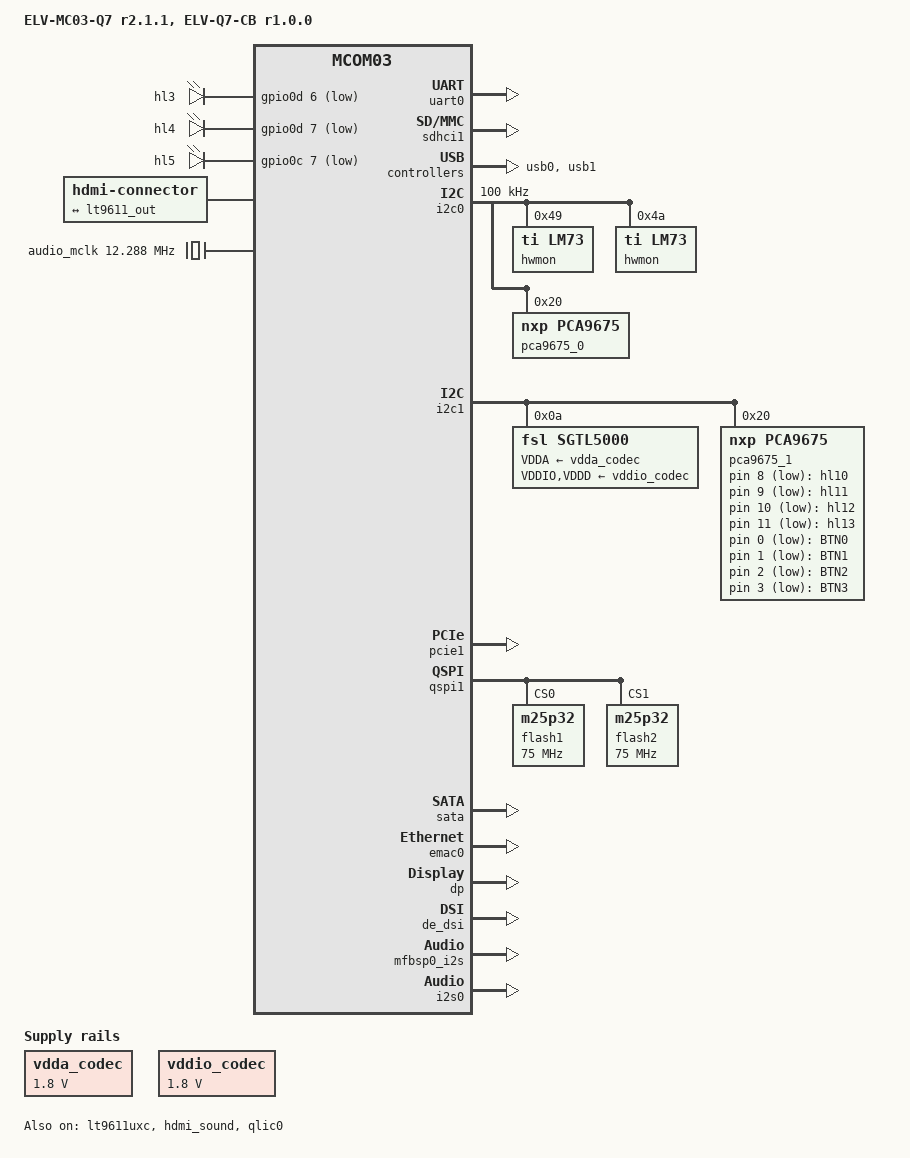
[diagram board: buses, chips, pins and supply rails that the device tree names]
// SPDX-License-Identifier: GPL-2.0+
/*
 * Copyright 2023 RnD Center "ELVEES", JSC
 */

/dts-v1/;

#include <dt-bindings/input/linux-event-codes.h>

#include "mcom03-elvmc03q7-r2.1.1.dtsi"

/ {
	model = "ELV-MC03-Q7 r2.1.1, ELV-Q7-CB r1.0.0";
	compatible = "elvees,elvmc03q7-r2.1.1-elvq7cb-r1.0.0",
		     "elvees,elvmc03q7-elvq7cb",
		     "elvees,elvq7cb-r1.0.0",
		     "elvees,elvq7cb",
		     "elvees,elvmc03q7-r2.1.1",
		     "elvees,elvmc03q7",
		     "elvees,mcom03";

	chosen {
		stdout-path = "serial0:115200n8";
	};

	elvq7cb-leds {
		compatible = "gpio-leds";

		hl3 {
			gpios = <&gpio0d 6 GPIO_ACTIVE_LOW>;
			default-state = "off";
		};

		hl4 {
			gpios = <&gpio0d 7 GPIO_ACTIVE_LOW>;
			default-state = "off";
		};

		hl5 {
			gpios = <&gpio0c 7 GPIO_ACTIVE_LOW>;
			default-state = "off";
		};

		hl10 {
			gpios = <&pca9675_1 8 GPIO_ACTIVE_LOW>;
			default-state = "off";
		};

		hl11 {
			gpios = <&pca9675_1 9 GPIO_ACTIVE_LOW>;
			default-state = "off";
		};

		hl12 {
			gpios = <&pca9675_1 10 GPIO_ACTIVE_LOW>;
			default-state = "off";
		};

		hl13 {
			gpios = <&pca9675_1 11 GPIO_ACTIVE_LOW>;
			default-state = "off";
		};

		hl14 {
			/* Reserved for I2C3 SCL */
			status = "disabled";
			gpios = <&gpio1a 4 GPIO_ACTIVE_LOW>;
			default-state = "off";
		};

		hl15 {
			/* Reserved for I2C3 SDA */
			status = "disabled";
			gpios = <&gpio1a 5 GPIO_ACTIVE_LOW>;
			default-state = "off";
		};

		hl16 {
			/* Reserved for UART0 TX */
			status = "disabled";
			gpios = <&gpio1b 6 GPIO_ACTIVE_LOW>;
			default-state = "off";
		};

		hl17 {
			/* Reserved for UART0 RX */
			status = "disabled";
			gpios = <&gpio1b 7 GPIO_ACTIVE_LOW>;
			default-state = "off";
		};
	};

	elvq7cb-keys {
		compatible = "gpio-keys-polled";
		poll-interval = <100>;
		autorepeat;

		btn0 {
			gpios = <&pca9675_1 0 GPIO_ACTIVE_LOW>;
			label = "BTN0";
			linux,code = <BTN_TRIGGER_HAPPY1>;
		};

		btn1 {
			gpios = <&pca9675_1 1 GPIO_ACTIVE_LOW>;
			label = "BTN1";
			linux,code = <BTN_TRIGGER_HAPPY2>;
		};

		btn2 {
			gpios = <&pca9675_1 2 GPIO_ACTIVE_LOW>;
			label = "BTN2";
			linux,code = <BTN_TRIGGER_HAPPY3>;
		};

		btn3 {
			gpios = <&pca9675_1 3 GPIO_ACTIVE_LOW>;
			label = "BTN3";
			linux,code = <BTN_TRIGGER_HAPPY4>;
		};
	};

	hdmi_connector: hdmi-connector {
		compatible = "hdmi-connector";
		label = "hdmi";

		type = "a";

		port {
			hdmi_connector_in: endpoint {
				remote-endpoint = <&lt9611_out>;
			};
		};
	};

	vdda_codec: vdda-codec {
		compatible = "regulator-fixed";
		regulator-name = "vdda-codec";
		regulator-min-microvolt = <1800000>;
		regulator-max-microvolt = <1800000>;
		regulator-always-on;
	};

	vddio_codec: vddio-codec {
		compatible = "regulator-fixed";
		regulator-name = "vddio-codec";
		regulator-min-microvolt = <1800000>;
		regulator-max-microvolt = <1800000>;
		regulator-always-on;
	};

	/* "G1" oscillator */
	audio_mclk: audio_mclk {
		#clock-cells = <0>;
		compatible = "fixed-clock";
		clock-frequency = <12288000>;
	};

	/* TRS (3.5mm jack) connected to SGTL5000 codec.
	   SGTL5000 connected to MCom-03 I2S0 as I2S slave.
	   */
	elvq7cb_i2s_asound {
		compatible = "simple-audio-card";
		simple-audio-card,name = "ELV-Q7-CB analog audio";
		simple-audio-card,format = "i2s";
		simple-audio-card,bitclock-master = <&dailink1_master>;
		simple-audio-card,frame-master = <&dailink1_master>;
		simple-audio-card,routing =
			"MIC_IN", "Mic Bias";

		dailink1_master: simple-audio-card,cpu {
			sound-dai = <&i2s0>;
		};

		simple-audio-card,codec {
			sound-dai = <&sgtl5000>;
		};
	};
};

&uart0 {
	status = "okay";
};

&sdhci1 {
	status = "okay";

	/* Disable 1.8V support
	 * Disable SDR50, SDR104 and DDR50 support
	 */
	sdhci-caps-mask = <0x7 0x4000000>;
	sdhci-caps = <0x0 0x0>;
};

/* Connected to USB 3.0 (USB0) */
&usb0 {
	status = "okay";
};

/* Connected to USB 2.0 (USB0, USB2-3) */
&usb1 {
	status = "okay";
};

&i2c0 {
	status = "okay";
	clock-frequency = <100000>;

	hwmon@49 {
		compatible = "ti,lm73";
		reg = <0x49>;
	};

	hwmon@4a {
		compatible = "ti,lm73";
		reg = <0x4a>;
	};

	/* I2C GPIO expander (PCA9675) */
	pca9675_0: gpio-expander@20 {
		compatible = "nxp,pca9675";
		reg = <0x20>;
		gpio-controller;
		#gpio-cells = <2>;

		gpio-line-names = "", "", "", "PCIe_PRSNT",
				  "", "I2C_OUT5", "I2C_OUT6", "I2C_OUT7",
				  "I2C_OUT10", "I2C_EXP_TP1", "I2C_EXP_TP2", "I2C_EXP_TP3",
				  "I2C_EXP_TP4", "I2C_EXP_TP5", "I2C_EXP_TP6", "I2C_EXP_TP7";
	};
};

&i2c1 {
	status = "okay";

	sgtl5000: codec@a {
		status = "okay";
		compatible = "fsl,sgtl5000";
		reg = <0x0a>;
		#sound-dai-cells = <0>;
		clocks = <&audio_mclk>;
		clock-names = "mclk";
		micbias-resistor-k-ohms = <2>;
		micbias-voltage-m-volts = <2250>;
		VDDA-supply = <&vdda_codec>;
		VDDIO-supply = <&vddio_codec>;
		VDDD-supply = <&vddio_codec>;
	};

	/* I2C GPIO expander (PCA9675) */
	pca9675_1: gpio-expander@20 {
		compatible = "nxp,pca9675";
		reg = <0x20>;
		gpio-controller;
		#gpio-cells = <2>;

		gpio-line-names = "BTN_0", "BTN_1", "BTN_2", "BTN_3",
				  "EXT_BTN_0", "EXT_BTN_1", "EXT_BTN_2", "EXT_BTN_3",
				  "HL10", "HL11", "HL12", "HL13",
				  "EXT_LED_0", "EXT_LED_1", "EXT_LED_2", "EXT_LED_3";
	};
};

/* Connected to PCIe bridge */
&pcie1 {
	status = "okay";
};

&qspi1 {
	status = "okay";
	num-cs = <2>;

	flash1: m25p32@0 {
		#address-cells = <1>;
		#size-cells = <1>;
		compatible = "m25p32", "jedec,spi-nor";
		spi-max-frequency = <75000000>;
		reg = <0x0>;
	};

	flash2: m25p32@1 {
		#address-cells = <1>;
		#size-cells = <1>;
		compatible = "m25p32", "jedec,spi-nor";
		spi-max-frequency = <75000000>;
		reg = <0x1>;
	};
};

/* Connected to SATA plug */
&sata {
	status = "okay";
};

/* Connected to RJ-45 (XS1) */
&emac0 {
	status = "okay";
};

&dp {
	status = "okay";
};

&de_dsi {
	status = "okay";
};

&lt9611uxc {
	status = "okay";

	ports {
		port@2 {
			reg = <2>;
			lt9611_out: endpoint {
				remote-endpoint = <&hdmi_connector_in>;
			};
		};
	};
};

&hdmi_sound {
	status = "okay";
};

&mfbsp0_i2s {
	status = "okay";
};

&qlic0 {
	status = "okay";
};

&i2s0 {
	status = "okay";
};
